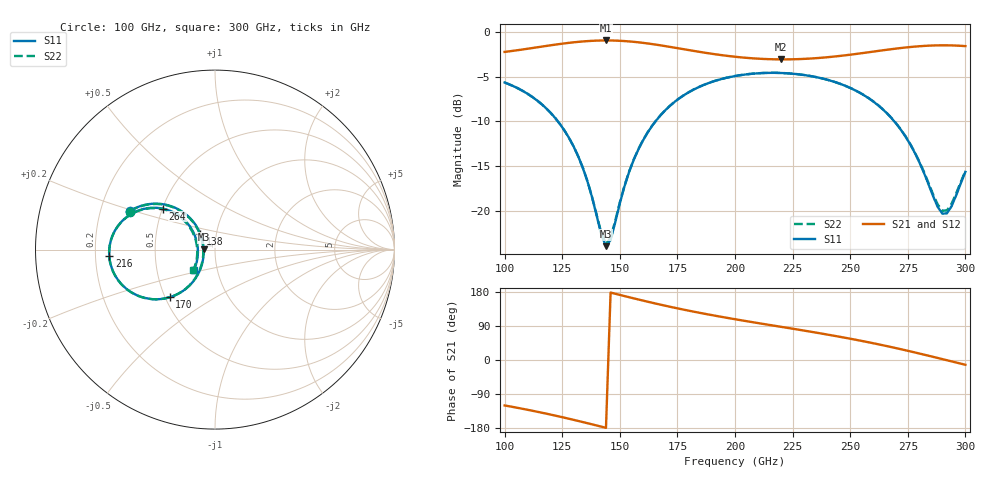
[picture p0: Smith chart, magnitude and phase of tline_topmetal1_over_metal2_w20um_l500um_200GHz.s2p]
#  GHZ S DB R 50
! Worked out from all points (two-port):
!   101 points, 100 GHz to 300 GHz, reference 50 ohm
!   highest |S21| = -0.96 dB at 144 GHz (marker M1); lowest = -3.1 dB at 220 GHz (marker M2)
!   |S21| within 3 dB of the highest: start of sweep to end of sweep
!   lowest |S11| = -24.0 dB at 144 GHz (marker M3), VSWR 1.14, Z = 44.1 + j0.228 ohm
!   |S11| at or under -10 dB: 123.1 GHz to 165.5 GHz (42.45 GHz wide, 29.4 % of centre); 269.1 GHz to end of sweep
!   |S22| runs from -23.7 to -4.6 dB; largest |S21 - S12| = 0
!   S11 on the Smith chart (normalised r, x): 100 GHz: 0.33, +0.19; 138 GHz: 0.84, +0.15; 170 GHz: 0.53, -0.32; 216 GHz: 0.26, -0.03; 264 GHz: 0.50, +0.27; 300 GHz: 0.77, -0.18
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100  -5.66 155.8  -2.24 -119.9  -2.24 -119.9  -5.66 156.0
120  -9.06 136.0  -1.50 -144.1  -1.50 -144.1  -9.06 136.4
128  -11.88 129.5  -1.22 -155.1  -1.22 -155.1  -11.88 130.0
134  -15.25 128.2  -1.07 -163.9  -1.07 -163.9  -15.23 128.9
138  -18.55 133.3  -1.00 -169.9  -1.00 -169.9  -18.50 134.3
144  -23.97 177.7  -0.96 -179.0  -0.96 -179.0  -23.72 178.3
146  -23.29 -157.6  -0.96 177.9  -0.96 177.9  -23.04 -157.8
156  -14.35 -124.1  -1.11 162.8  -1.11 162.8  -14.30 -124.5
168  -9.24 -131.7  -1.52 145.6  -1.52 145.6  -9.22 -131.8
170  -8.70 -133.6  -1.60 142.9  -1.60 142.9  -8.68 -133.7
184  -6.21 -147.5  -2.21 125.3  -2.21 125.3  -6.20 -147.5
200  -4.94 -162.6  -2.78 107.6  -2.78 107.6  -4.93 -162.5
216  -4.58 -176.7  -3.06 91.5  -3.06 91.5  -4.57 -176.5
220  -4.60 179.9  -3.07 87.5  -3.07 87.5  -4.59 -179.9
234  -5.00 167.8  -2.96 73.5  -2.96 73.5  -4.99 168.1
250  -6.27 153.8  -2.55 56.2  -2.55 56.2  -6.26 154.2
264  -8.63 141.9  -2.06 39.2  -2.06 39.2  -8.61 142.5
268  -9.67 139.0  -1.93 33.9  -1.93 33.9  -9.64 139.7
278  -13.51 136.3  -1.65 20.0  -1.65 20.0  -13.44 137.3
290  -20.33 174.9  -1.50 2.3  -1.50 2.3  -20.01 175.5
294  -19.50 -156.4  -1.51 -3.6  -1.51 -3.6  -19.23 -157.0
300  -15.66 -135.8  -1.59 -12.6  -1.59 -12.6  -15.54 -136.6
